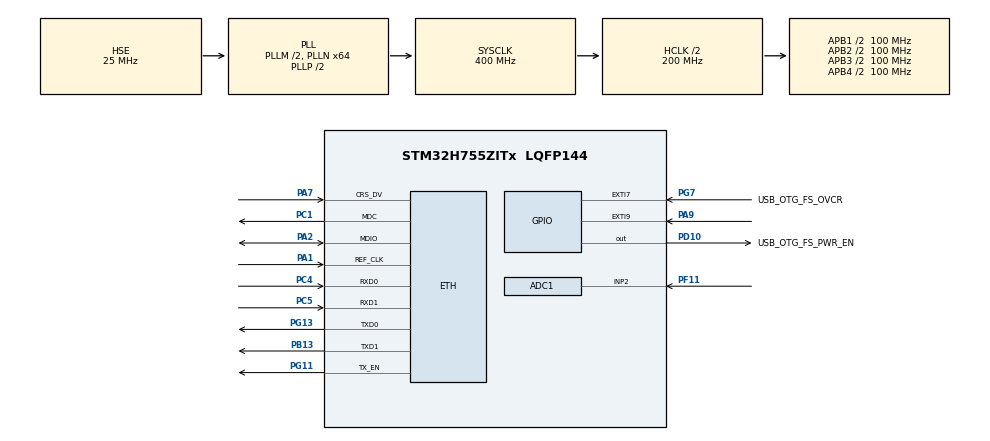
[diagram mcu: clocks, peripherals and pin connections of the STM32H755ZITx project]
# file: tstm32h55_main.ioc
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ADC1.Channel-0\#ChannelRegularConversion=ADC_CHANNEL_2
ADC1.ContinuousConvMode=DISABLE
ADC1.ConversionDataManagement=ADC_CONVERSIONDATA_DMA_CIRCULAR
ADC1.ExternalTrigConv=ADC_EXTERNALTRIG_T6_TRGO
ADC1.NbrOfConversion=1
ADC1.NbrOfConversionFlag=1
ADC1.OffsetNumber-0\#ChannelRegularConversion=ADC_OFFSET_NONE
ADC1.OffsetSignedSaturation-0\#ChannelRegularConversion=DISABLE
ADC1.Rank-0\#ChannelRegularConversion=1
ADC1.Resolution=ADC_RESOLUTION_12B
ADC1.SamplingTime-0\#ChannelRegularConversion=ADC_SAMPLETIME_1CYCLE_5
ADC1.master=1
CortexM4.IPs=FATFS_M4\:I,FREERTOS_M4\:I,IWDG2\:I,RCC,WWDG2\:I,DMA,BDMA,MDMA,NVIC2\:I,DEBUG,PDM2PCM_M4\:I,PWR,RESMGR_UTILITY,SYS_M4\:I,USB_DEVICE_M4\:I,USB_HOST_M4\:I,CORTEX_M4\:I,GPIO,OPENAMP_M4\:I,VREFBUF,NUCLEO-H755ZI-Q
CortexM7.IPs=FATFS_M7\:I,FREERTOS_M7\:I,IWDG1\:I,RCC\:I,WWDG1\:I,DMA\:I,BDMA\:I,MDMA\:I,NVIC1\:I,ETH\:I,SYS\:I,CORTEX_M7\:I,DEBUG\:I,PDM2PCM_M7\:I,PWR\:I,RESMGR_UTILITY\:I,USB_DEVICE_M7\:I,USB_HOST_M7\:I,GPIO\:I,OPENAMP_M7\:I,VREFBUF\:I,NUCLEO-H755ZI-Q\:I,LWIP\:I,ADC1\:I,TIM6\:I
Dma.ADC1.0.Direction=DMA_PERIPH_TO_MEMORY
Dma.ADC1.0.EventEnable=DISABLE
Dma.ADC1.0.FIFOMode=DMA_FIFOMODE_DISABLE
Dma.ADC1.0.Instance=DMA1_Stream0
Dma.ADC1.0.MemDataAlignment=DMA_MDATAALIGN_HALFWORD
Dma.ADC1.0.MemInc=DMA_MINC_ENABLE
Dma.ADC1.0.Mode=DMA_CIRCULAR
Dma.ADC1.0.PeriphDataAlignment=DMA_PDATAALIGN_HALFWORD
Dma.ADC1.0.PeriphInc=DMA_PINC_DISABLE
Dma.ADC1.0.Polarity=HAL_DMAMUX_REQ_GEN_RISING
Dma.ADC1.0.Priority=DMA_PRIORITY_LOW
Dma.ADC1.0.RequestNumber=1
Dma.ADC1.0.SignalID=NONE
Dma.ADC1.0.SyncEnable=DISABLE
Dma.ADC1.0.SyncPolarity=HAL_DMAMUX_SYNC_NO_EVENT
Dma.ADC1.0.SyncRequestNumber=1
Dma.ADC1.0.SyncSignalID=NONE
Dma.Request0=ADC1
ETH.MediaInterface=HAL_ETH_RMII_MODE
FREERTOS_M7.Tasks01=defaultTask,24,2048,StartDefaultTask,Default,NULL,Dynamic,NULL,NULL
FREERTOS_M7.configTOTAL_HEAP_SIZE=122880
FREERTOS_M7.configUSE_NEWLIB_REENTRANT=1
LWIP.BSP.number=1
LWIP.IP_ADDRESS=192.168.001.129
LWIP.LWIP_ARP=1
LWIP.LWIP_DHCP=0
LWIP.NETMASK_ADDRESS=255.255.255.000
LWIP.Version=v2.2.1_Cube
LWIP0.BSP.STBoard=false
LWIP0.BSP.api=BSP_COMPONENT_DRIVER
LWIP0.BSP.component=LAN8742
LWIP0.BSP.instance=LAN8742
LWIP0.BSP.name=Driver_PHY
LWIP0.BSP.semaphore=S_LAN8742
LWIP0.BSP.solution=LAN8742
Mcu.Family=STM32H7
Mcu.Name=STM32H755ZITx
Mcu.Package=LQFP144
NVIC1.DMA1_Stream0_IRQn=true\:5\:0\:false\:false\:true\:true\:false\:true\:true
NVIC1.ETH_IRQn=true\:5\:0\:false\:false\:true\:true\:true\:true\:true
NVIC1.ETH_WKUP_IRQn=true\:5\:0\:false\:false\:true\:true\:true\:true\:true
NVIC1.PriorityGroup=NVIC_PRIORITYGROUP_4
NVIC1.TIM6_DAC_IRQn=true\:5\:0\:false\:false\:true\:true\:true\:true\:true
NVIC2.PriorityGroup=NVIC_PRIORITYGROUP_4
PA1.Mode=RMII
PA1.PinAttribute=CortexM7
PA1.Signal=ETH_REF_CLK
PA2.Mode=RMII
PA2.PinAttribute=CortexM7
PA2.Signal=ETH_MDIO
PA7.Mode=RMII
PA7.PinAttribute=CortexM7
PA7.Signal=ETH_CRS_DV
PA9.PinAttribute=Free
PA9.Signal=GPXTI9
PB13.Mode=RMII
PB13.PinAttribute=CortexM7
PB13.Signal=ETH_TXD1
PC1.Mode=RMII
PC1.PinAttribute=CortexM7
PC1.Signal=ETH_MDC
PC14-OSC32_IN\ (OSC32_IN).Mode=LSE-External-Oscillator
PC14-OSC32_IN\ (OSC32_IN).PinAttribute=Free
PC14-OSC32_IN\ (OSC32_IN).Signal=RCC_OSC32_IN
PC15-OSC32_OUT\ (OSC32_OUT).Mode=LSE-External-Oscillator
PC15-OSC32_OUT\ (OSC32_OUT).PinAttribute=Free
PC15-OSC32_OUT\ (OSC32_OUT).Signal=RCC_OSC32_OUT
PC4.Mode=RMII
PC4.PinAttribute=CortexM7
PC4.Signal=ETH_RXD0
PC5.Mode=RMII
PC5.PinAttribute=CortexM7
PC5.Signal=ETH_RXD1
PD10.GPIO_Label=USB_OTG_FS_PWR_EN
PD10.PinAttribute=Free
PD10.Signal=GPIO_Output
PF11.Mode=IN2-Single-Ended
PF11.PinAttribute=CortexM7
PF11.Signal=ADC1_INP2
PG11.Mode=RMII
PG11.PinAttribute=CortexM7
PG11.Signal=ETH_TX_EN
PG13.Mode=RMII
PG13.PinAttribute=CortexM7
PG13.Signal=ETH_TXD0
PG7.GPIO_Label=USB_OTG_FS_OVCR
PG7.PinAttribute=Free
PG7.Signal=GPXTI7
PH0-OSC_IN\ (PH0).Mode=HSE-External-Oscillator
PH0-OSC_IN\ (PH0).PinAttribute=Free
PH0-OSC_IN\ (PH0).Signal=RCC_OSC_IN
PH1-OSC_OUT\ (PH1).Mode=HSE-External-Oscillator
PH1-OSC_OUT\ (PH1).PinAttribute=Free
PH1-OSC_OUT\ (PH1).Signal=RCC_OSC_OUT
ProjectManager.HeapSize=M4-0x200,M7-0x200
ProjectManager.StackSize=M4-0x400,M7-0x400
ProjectManager.TargetToolchain=STM32CubeIDE
RCC.ADCFreq_Value=75000000
RCC.APB1Freq_Value=100000000
RCC.APB2Freq_Value=100000000
RCC.APB3Freq_Value=100000000
RCC.APB4Freq_Value=100000000
RCC.CortexFreq_Value=400000000
RCC.D1PPRE=RCC_APB3_DIV2
RCC.D2PPRE1=RCC_APB1_DIV2
RCC.D2PPRE2=RCC_APB2_DIV2
RCC.D3PPRE=RCC_APB4_DIV2
RCC.DIVM1=2
RCC.DIVM2=2
RCC.DIVN1=64
RCC.DIVN2=12
RCC.DIVQ1=5
RCC.HCLKFreq_Value=200000000
RCC.HPRE=RCC_HCLK_DIV2
RCC.PLL2FRACN=0
RCC.PLL3FRACN=0
RCC.PLLFRACN=0
RCC.PLLSourceVirtual=RCC_PLLSOURCE_HSE
RCC.SYSCLKFreq_VALUE=400000000
RCC.SYSCLKSource=RCC_SYSCLKSOURCE_PLLCLK
RCC.SupplySource=PWR_DIRECT_SMPS_SUPPLY
RCC.USBFreq_Value=160000000
TIM6.AutoReloadPreload=TIM_AUTORELOAD_PRELOAD_ENABLE
TIM6.TIM_MasterOutputTrigger=TIM_TRGO_UPDATE
VP_FREERTOS_M7_VS_CMSIS_V2.Mode=CMSIS_V2
VP_LWIP_VS_Enabled.Mode=Enabled
VP_SYS_M4_VS_Systick.Mode=SysTick
VP_TIM6_VS_ClockSourceINT.Mode=Enable_Timer
board=NUCLEO-H755ZI-Q

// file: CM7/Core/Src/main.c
/* USER CODE BEGIN Header */
/**
  ******************************************************************************
  * @file           : main.c
  * @brief          : Main program body
  ******************************************************************************
  * @attention
  *
  * Copyright (c) 2026 STMicroelectronics.
  * All rights reserved.
  *
  * This software is licensed under terms that can be found in the LICENSE file
  * in the root directory of this software component.
  * If no LICENSE file comes with this software, it is provided AS-IS.
  *
  ******************************************************************************
  */
/* USER CODE END Header */
#include "main.h"
#include "FreeRTOS.h"
#include "cmsis_os2.h"
#include "lwip.h"

/* USER CODE BEGIN PD */

/* DUAL_CORE_BOOT_SYNC_SEQUENCE: Define for dual core boot synchronization    */
/*                             demonstration code based on hardware semaphore */
/* This define is present in both CM7/CM4 projects                            */
/* To comment when developping/debugging on a single core                     */
#define DUAL_CORE_BOOT_SYNC_SEQUENCE

#if defined(DUAL_CORE_BOOT_SYNC_SEQUENCE)
#ifndef HSEM_ID_0
#define HSEM_ID_0 (0U) /* HW semaphore 0*/
#endif
#endif /* DUAL_CORE_BOOT_SYNC_SEQUENCE */

/* USER CODE END PD */

/* USER CODE BEGIN PM */
volatile int frame_ready = 0;
/* USER CODE END PM */

ADC_HandleTypeDef hadc1;
DMA_HandleTypeDef hdma_adc1;

TIM_HandleTypeDef htim6;

/* Definitions for defaultTask */
osThreadId_t defaultTaskHandle;
const osThreadAttr_t defaultTask_attributes = {
  .name = "defaultTask",
  .stack_size = 2048 * 4,
  .priority = (osPriority_t) osPriorityNormal,
};

void SystemClock_Config(void);
static void MX_GPIO_Init(void);
static void MX_DMA_Init(void);
static void MX_ADC1_Init(void);
static void MX_TIM6_Init(void);
void StartDefaultTask(void *argument);

/* USER CODE BEGIN PFP */
void web_server_start(void);
void ipc_mpu_config(void);
void ipc_m7_init(void);
volatile uint32_t adc_cb_count = 0;

/* USER CODE END PFP */

/* USER CODE BEGIN 0 */
#define ADC_FRAME_SAMPLES  512
/* НЕ в DTCM (туда DMA не ходит). AXI SRAM (D1) — ок. */
uint16_t adc_buf[ADC_FRAME_SAMPLES];
/* USER CODE END 0 */

int main(void)
{

  /* USER CODE BEGIN 1 */
	ipc_mpu_config();        /* 1. MPU настроен ДО кэшей */
	//SCB_EnableICache();      /* 2. теперь можно кэши      */
	//SCB_EnableDCache();
  /* USER CODE END 1 */
/* USER CODE BEGIN Boot_Mode_Sequence_0 */
#if defined(DUAL_CORE_BOOT_SYNC_SEQUENCE)
  int32_t timeout;
#endif /* DUAL_CORE_BOOT_SYNC_SEQUENCE */
/* USER CODE END Boot_Mode_Sequence_0 */

/* USER CODE BEGIN Boot_Mode_Sequence_1 */
#if defined(DUAL_CORE_BOOT_SYNC_SEQUENCE)
  /* Wait until CPU2 boots and enters in stop mode or timeout*/
  timeout = 0xFFFF;
  while((__HAL_RCC_GET_FLAG(RCC_FLAG_D2CKRDY) != RESET) && (timeout-- > 0));
  if ( timeout < 0 )
  {
  Error_Handler();
  }
#endif /* DUAL_CORE_BOOT_SYNC_SEQUENCE */
/* USER CODE END Boot_Mode_Sequence_1 */
  /* MCU Configuration--------------------------------------------------------*/

  /* Reset of all peripherals, Initializes the Flash interface and the Systick. */
  HAL_Init();

  /* Configure the system clock */
  SystemClock_Config();
/* USER CODE BEGIN Boot_Mode_Sequence_2 */
#if defined(DUAL_CORE_BOOT_SYNC_SEQUENCE)
/* When system initialization is finished, Cortex-M7 will release Cortex-M4 by means of
HSEM notification */
/*HW semaphore Clock enable*/
__HAL_RCC_HSEM_CLK_ENABLE();
/*Take HSEM */
HAL_HSEM_FastTake(HSEM_ID_0);
/*Release HSEM in order to notify the CPU2(CM4)*/
HAL_HSEM_Release(HSEM_ID_0,0);
/* wait until CPU2 wakes up from stop mode */
timeout = 0xFFFF;
while((__HAL_RCC_GET_FLAG(RCC_FLAG_D2CKRDY) == RESET) && (timeout-- > 0));
if ( timeout < 0 )
{
Error_Handler();
}
#endif /* DUAL_CORE_BOOT_SYNC_SEQUENCE */
/* USER CODE END Boot_Mode_Sequence_2 */

  /* Initialize all configured peripherals */
  MX_GPIO_Init();
  MX_DMA_Init();
  MX_ADC1_Init();
  MX_TIM6_Init();

  /* Init scheduler */
  osKernelInitialize();

  /* USER CODE BEGIN RTOS_MUTEX */
  /* add mutexes, ... */
  ipc_m7_init();
  /* 1. (один раз) откалибровать АЦП — H7 это требует, иначе врёт */
  HAL_ADCEx_Calibration_Start(&hadc1, ADC_CALIB_OFFSET, ADC_SINGLE_ENDED);

  /* 2. запустить АЦП с DMA — он встанет и будет ЖДАТЬ триггеров */
  HAL_ADC_Start_DMA(&hadc1, (uint32_t *)adc_buf, ADC_FRAME_SAMPLES);

  /* 3. ТОЛЬКО ТЕПЕРЬ запустить таймер — он начнёт тикать и триггерить АЦП */
  HAL_TIM_Base_Start(&htim6);   /* или какой у тебя таймер */
  /* USER CODE END RTOS_MUTEX */

  /* Create the thread(s) */
  /* creation of defaultTask */
  defaultTaskHandle = osThreadNew(StartDefaultTask, NULL, &defaultTask_attributes);

  /* USER CODE BEGIN RTOS_EVENTS */
  /* add events, ... */
  web_server_start();
  /* USER CODE END RTOS_EVENTS */

  /* Start scheduler */
  osKernelStart();

  /* We should never get here as control is now taken by the scheduler */

  /* Infinite loop */
  while (1)
  {

  }
}

void SystemClock_Config(void)
{
  RCC_OscInitTypeDef RCC_OscInitStruct = {0};
  RCC_ClkInitTypeDef RCC_ClkInitStruct = {0};

  /** Supply configuration update enable
  */
  HAL_PWREx_ConfigSupply(PWR_DIRECT_SMPS_SUPPLY);

  /** Configure the main internal regulator output voltage
  */
  __HAL_PWR_VOLTAGESCALING_CONFIG(PWR_REGULATOR_VOLTAGE_SCALE1);

  while(!__HAL_PWR_GET_FLAG(PWR_FLAG_VOSRDY)) {}

  /** Initializes the RCC Oscillators according to the specified parameters
  * in the RCC_OscInitTypeDef structure.
  */
  RCC_OscInitStruct.OscillatorType = RCC_OSCILLATORTYPE_HSE;
  RCC_OscInitStruct.HSEState = RCC_HSE_ON;
  RCC_OscInitStruct.PLL.PLLState = RCC_PLL_ON;
  RCC_OscInitStruct.PLL.PLLSource = RCC_PLLSOURCE_HSE;
  RCC_OscInitStruct.PLL.PLLM = 2;
  RCC_OscInitStruct.PLL.PLLN = 64;
  RCC_OscInitStruct.PLL.PLLP = 2;
  RCC_OscInitStruct.PLL.PLLQ = 5;
  RCC_OscInitStruct.PLL.PLLR = 2;
  RCC_OscInitStruct.PLL.PLLRGE = RCC_PLL1VCIRANGE_3;
  RCC_OscInitStruct.PLL.PLLVCOSEL = RCC_PLL1VCOWIDE;
  RCC_OscInitStruct.PLL.PLLFRACN = 0;
  if (HAL_RCC_OscConfig(&RCC_OscInitStruct) != HAL_OK)
  {
    Error_Handler();
  }

  /** Initializes the CPU, AHB and APB buses clocks
  */
  RCC_ClkInitStruct.ClockType = RCC_CLOCKTYPE_HCLK|RCC_CLOCKTYPE_SYSCLK
                              |RCC_CLOCKTYPE_PCLK1|RCC_CLOCKTYPE_PCLK2
                              |RCC_CLOCKTYPE_D3PCLK1|RCC_CLOCKTYPE_D1PCLK1;
  RCC_ClkInitStruct.SYSCLKSource = RCC_SYSCLKSOURCE_PLLCLK;
  RCC_ClkInitStruct.SYSCLKDivider = RCC_SYSCLK_DIV1;
  RCC_ClkInitStruct.AHBCLKDivider = RCC_HCLK_DIV2;
  RCC_ClkInitStruct.APB3CLKDivider = RCC_APB3_DIV2;
  RCC_ClkInitStruct.APB1CLKDivider = RCC_APB1_DIV2;
  RCC_ClkInitStruct.APB2CLKDivider = RCC_APB2_DIV2;
  RCC_ClkInitStruct.APB4CLKDivider = RCC_APB4_DIV2;

  if (HAL_RCC_ClockConfig(&RCC_ClkInitStruct, FLASH_LATENCY_2) != HAL_OK)
  {
    Error_Handler();
  }
}

static void MX_ADC1_Init(void)
{

  ADC_MultiModeTypeDef multimode = {0};
  ADC_ChannelConfTypeDef sConfig = {0};

  /** Common config
  */
  hadc1.Instance = ADC1;
  hadc1.Init.ClockPrescaler = ADC_CLOCK_ASYNC_DIV1;
  hadc1.Init.Resolution = ADC_RESOLUTION_12B;
  hadc1.Init.ScanConvMode = ADC_SCAN_DISABLE;
  hadc1.Init.EOCSelection = ADC_EOC_SINGLE_CONV;
  hadc1.Init.LowPowerAutoWait = DISABLE;
  hadc1.Init.ContinuousConvMode = DISABLE;
  hadc1.Init.NbrOfConversion = 1;
  hadc1.Init.DiscontinuousConvMode = DISABLE;
  hadc1.Init.ExternalTrigConv = ADC_EXTERNALTRIG_T6_TRGO;
  hadc1.Init.ExternalTrigConvEdge = ADC_EXTERNALTRIGCONVEDGE_RISING;
  hadc1.Init.ConversionDataManagement = ADC_CONVERSIONDATA_DMA_CIRCULAR;
  hadc1.Init.Overrun = ADC_OVR_DATA_PRESERVED;
  hadc1.Init.LeftBitShift = ADC_LEFTBITSHIFT_NONE;
  hadc1.Init.OversamplingMode = DISABLE;
  hadc1.Init.Oversampling.Ratio = 1;
  if (HAL_ADC_Init(&hadc1) != HAL_OK)
  {
    Error_Handler();
  }

  /** Configure the ADC multi-mode
  */
  multimode.Mode = ADC_MODE_INDEPENDENT;
  if (HAL_ADCEx_MultiModeConfigChannel(&hadc1, &multimode) != HAL_OK)
  {
    Error_Handler();
  }

  /** Configure Regular Channel
  */
  sConfig.Channel = ADC_CHANNEL_2;
  sConfig.Rank = ADC_REGULAR_RANK_1;
  sConfig.SamplingTime = ADC_SAMPLETIME_1CYCLE_5;
  sConfig.SingleDiff = ADC_SINGLE_ENDED;
  sConfig.OffsetNumber = ADC_OFFSET_NONE;
  sConfig.Offset = 0;
  sConfig.OffsetSignedSaturation = DISABLE;
  if (HAL_ADC_ConfigChannel(&hadc1, &sConfig) != HAL_OK)
  {
    Error_Handler();
  }

}

static void MX_TIM6_Init(void)
{

  TIM_MasterConfigTypeDef sMasterConfig = {0};

  htim6.Instance = TIM6;
  htim6.Init.Prescaler = 0;
  htim6.Init.CounterMode = TIM_COUNTERMODE_UP;
  htim6.Init.Period = 500;
  htim6.Init.AutoReloadPreload = TIM_AUTORELOAD_PRELOAD_ENABLE;
  if (HAL_TIM_Base_Init(&htim6) != HAL_OK)
  {
    Error_Handler();
  }
  sMasterConfig.MasterOutputTrigger = TIM_TRGO_UPDATE;
  sMasterConfig.MasterSlaveMode = TIM_MASTERSLAVEMODE_DISABLE;
  if (HAL_TIMEx_MasterConfigSynchronization(&htim6, &sMasterConfig) != HAL_OK)
  {
    Error_Handler();
  }

}

static void MX_DMA_Init(void)
{

  /* DMA controller clock enable */
  __HAL_RCC_DMA1_CLK_ENABLE();

  /* DMA interrupt init */
  /* DMA1_Stream0_IRQn interrupt configuration */
  HAL_NVIC_SetPriority(DMA1_Stream0_IRQn, 5, 0);
  HAL_NVIC_EnableIRQ(DMA1_Stream0_IRQn);

}

static void MX_GPIO_Init(void)
{

  /* GPIO Ports Clock Enable */
  __HAL_RCC_GPIOC_CLK_ENABLE();
  __HAL_RCC_GPIOA_CLK_ENABLE();
  __HAL_RCC_GPIOF_CLK_ENABLE();
  __HAL_RCC_GPIOB_CLK_ENABLE();
  __HAL_RCC_GPIOG_CLK_ENABLE();

}

/* USER CODE BEGIN 4 */

/* буфер заполнен полностью — кадр готов */
void HAL_ADC_ConvCpltCallback(ADC_HandleTypeDef *hadc) {
    if (hadc->Instance == ADC1) {
        frame_ready = 1;   /* флаг для web_task: можно слать */
        adc_cb_count++;

    }
}

/* (опционально) половина буфера — для double-buffering */
void HAL_ADC_ConvHalfCpltCallback(ADC_HandleTypeDef *hadc) {
    /* первая половина готова, пока пишется вторая */
}

void ipc_mpu_config(void)   /* вызвать на CM7 ДО включения кэшей */
{
    MPU_Region_InitTypeDef cfg = {0};

    HAL_MPU_Disable();

    cfg.Enable           = MPU_REGION_ENABLE;
    cfg.Number           = MPU_REGION_NUMBER0;     /* проверь, что свободен */
    cfg.BaseAddress      = 0x38000000;             /* SRAM4 / D3            */
    cfg.Size             = MPU_REGION_SIZE_64KB;
    cfg.AccessPermission = MPU_REGION_FULL_ACCESS;
    cfg.IsShareable      = MPU_ACCESS_SHAREABLE;
    cfg.IsCacheable      = MPU_ACCESS_NOT_CACHEABLE;
    cfg.IsBufferable     = MPU_ACCESS_NOT_BUFFERABLE;
    cfg.TypeExtField     = MPU_TEX_LEVEL1;         /* TEX=1,C=0,B=0 = Normal, non-cacheable */
    cfg.SubRegionDisable = 0x00;
    cfg.DisableExec      = MPU_INSTRUCTION_ACCESS_DISABLE;

    HAL_MPU_ConfigRegion(&cfg);
    HAL_MPU_Enable(MPU_PRIVILEGED_DEFAULT);
}
/* USER CODE END 4 */

void StartDefaultTask(void *argument)
{
  /* init code for LWIP */
  MX_LWIP_Init();
  for(;;)
  {
    osDelay(1);
  }
}

void Error_Handler(void)
{
  __disable_irq();
  while (1)
  {
  }
}
